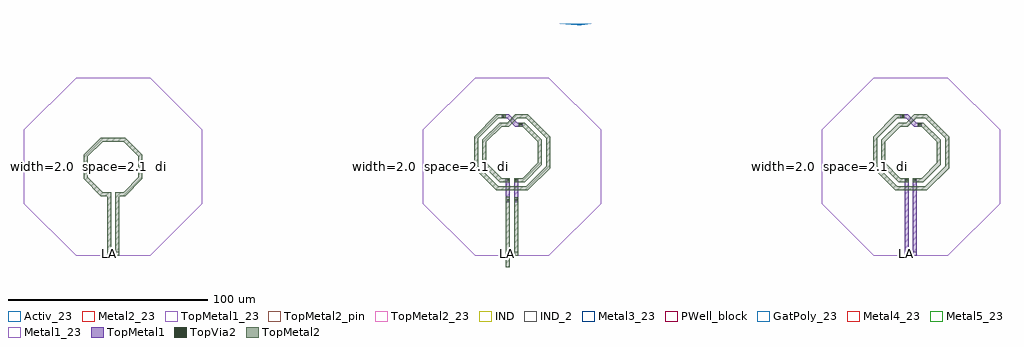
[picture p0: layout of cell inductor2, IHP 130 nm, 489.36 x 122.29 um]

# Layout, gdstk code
import gdstk
lib = gdstk.Library(unit=1e-6, precision=1e-09)
def R(c, l, rs):  # rectangles x0, y0, x1, y1
    for r in rs: c.add(gdstk.rectangle(r[:2], r[2:], *l))
def P(c, l, *ps):  # polygons
    for p in ps: c.add(gdstk.Polygon(p, *l))
Activ_23 = (1, 23)
GatPoly_23 = (5, 23)
Metal1_23 = (8, 23)
Metal2_23 = (10, 23)
IND = (27, 0)
IND_2 = (27, 2)
Metal3_23 = (30, 23)
PWell_block = (46, 21)
Metal4_23 = (50, 23)
Metal5_23 = (67, 23)
TopMetal1 = (126, 0)
TopMetal1_23 = (126, 23)
TopVia2 = (133, 0)
TopMetal2 = (134, 0)
TopMetal2_pin = (134, 2)
TopMetal2_23 = (134, 23)

inductor2 = lib.new_cell('inductor2')
P(inductor2, Activ_23, [(232.726,115.584),(223.9,116.509),(239.66,116.509),(234.726,115.584)],
  [(181.495,0),(155.32,26.175),(155.32,63.185),(181.495,89.36),(218.505,89.36),(244.68,63.185),(244.68,26.175),(218.505,0)],
  [(381.495,0),(355.32,26.175),(355.32,63.185),(381.495,89.36),(418.505,89.36),(444.68,63.185),(444.68,26.175),(418.505,0)],
  [(-18.505,0),(-44.68,26.175),(-44.68,63.185),(-18.505,89.36),(18.505,89.36),(44.68,63.185),(44.68,26.175),(18.505,0)])
P(inductor2, GatPoly_23, [(181.495,0),(155.32,26.175),(155.32,63.185),(181.495,89.36),(218.505,89.36),(244.68,63.185),(244.68,26.175),(218.505,0)],
  [(381.495,0),(355.32,26.175),(355.32,63.185),(381.495,89.36),(418.505,89.36),(444.68,63.185),(444.68,26.175),(418.505,0)],
  [(-18.505,0),(-44.68,26.175),(-44.68,63.185),(-18.505,89.36),(18.505,89.36),(44.68,63.185),(44.68,26.175),(18.505,0)])
P(inductor2, Metal1_23, [(181.495,0),(155.32,26.175),(155.32,63.185),(181.495,89.36),(218.505,89.36),(244.68,63.185),(244.68,26.175),(218.505,0)],
  [(381.495,0),(355.32,26.175),(355.32,63.185),(381.495,89.36),(418.505,89.36),(444.68,63.185),(444.68,26.175),(418.505,0)],
  [(-18.505,0),(-44.68,26.175),(-44.68,63.185),(-18.505,89.36),(18.505,89.36),(44.68,63.185),(44.68,26.175),(18.505,0)])
P(inductor2, Metal2_23, [(181.495,0),(155.32,26.175),(155.32,63.185),(181.495,89.36),(218.505,89.36),(244.68,63.185),(244.68,26.175),(218.505,0)],
  [(381.495,0),(355.32,26.175),(355.32,63.185),(381.495,89.36),(418.505,89.36),(444.68,63.185),(444.68,26.175),(418.505,0)],
  [(-18.505,0),(-44.68,26.175),(-44.68,63.185),(-18.505,89.36),(18.505,89.36),(44.68,63.185),(44.68,26.175),(18.505,0)])
P(inductor2, IND, [(181.495,0),(155.32,26.175),(155.32,63.185),(181.495,89.36),(218.505,89.36),(244.68,63.185),(244.68,26.175),(218.505,0)],
  [(381.495,0),(355.32,26.175),(355.32,63.185),(381.495,89.36),(418.505,89.36),(444.68,63.185),(444.68,26.175),(418.505,0)],
  [(-18.505,0),(-44.68,26.175),(-44.68,63.185),(-18.505,89.36),(18.505,89.36),(44.68,63.185),(44.68,26.175),(18.505,0)])
R(inductor2, IND_2, [(-3.05,0,-1.05,2), (1.05,0,3.05,2), (196.95,0,198.95,2), (201.05,0,203.05,2), (396.95,0,398.95,2), (401.05,0,403.05,2)])
P(inductor2, Metal3_23, [(181.495,0),(155.32,26.175),(155.32,63.185),(181.495,89.36),(218.505,89.36),(244.68,63.185),(244.68,26.175),(218.505,0)],
  [(381.495,0),(355.32,26.175),(355.32,63.185),(381.495,89.36),(418.505,89.36),(444.68,63.185),(444.68,26.175),(418.505,0)],
  [(-18.505,0),(-44.68,26.175),(-44.68,63.185),(-18.505,89.36),(18.505,89.36),(44.68,63.185),(44.68,26.175),(18.505,0)])
P(inductor2, PWell_block, [(181.495,0),(155.32,26.175),(155.32,63.185),(181.495,89.36),(218.505,89.36),(244.68,63.185),(244.68,26.175),(218.505,0)],
  [(381.495,0),(355.32,26.175),(355.32,63.185),(381.495,89.36),(418.505,89.36),(444.68,63.185),(444.68,26.175),(418.505,0)],
  [(-18.505,0),(-44.68,26.175),(-44.68,63.185),(-18.505,89.36),(18.505,89.36),(44.68,63.185),(44.68,26.175),(18.505,0)])
P(inductor2, Metal4_23, [(181.495,0),(155.32,26.175),(155.32,63.185),(181.495,89.36),(218.505,89.36),(244.68,63.185),(244.68,26.175),(218.505,0)],
  [(381.495,0),(355.32,26.175),(355.32,63.185),(381.495,89.36),(418.505,89.36),(444.68,63.185),(444.68,26.175),(418.505,0)],
  [(-18.505,0),(-44.68,26.175),(-44.68,63.185),(-18.505,89.36),(18.505,89.36),(44.68,63.185),(44.68,26.175),(18.505,0)])
P(inductor2, Metal5_23, [(181.495,0),(155.32,26.175),(155.32,63.185),(181.495,89.36),(218.505,89.36),(244.68,63.185),(244.68,26.175),(218.505,0)],
  [(381.495,0),(355.32,26.175),(355.32,63.185),(381.495,89.36),(418.505,89.36),(444.68,63.185),(444.68,26.175),(418.505,0)],
  [(-18.505,0),(-44.68,26.175),(-44.68,63.185),(-18.505,89.36),(18.505,89.36),(44.68,63.185),(44.68,26.175),(18.505,0)])
P(inductor2, TopMetal1, [(201.754,64.865),(197.644,68.975),(194.764,68.975),(194.764,70.975),(198.454,70.975),(202.564,66.865),(205.444,66.865),(205.444,64.865)],
  [(401.754,64.865),(397.644,68.975),(394.764,68.975),(394.764,70.975),(398.454,70.975),(402.564,66.865),(405.444,66.865),(405.444,64.865)])
P(inductor2, TopMetal1_23, [(181.495,0),(155.32,26.175),(155.32,63.185),(181.495,89.36),(218.505,89.36),(244.68,63.185),(244.68,26.175),(218.505,0)],
  [(381.495,0),(355.32,26.175),(355.32,63.185),(381.495,89.36),(418.505,89.36),(444.68,63.185),(444.68,26.175),(418.505,0)],
  [(-18.505,0),(-44.68,26.175),(-44.68,63.185),(-18.505,89.36),(18.505,89.36),(44.68,63.185),(44.68,26.175),(18.505,0)])
R(inductor2, TopVia2, [(197.526,27.594,198.426,28.494), (201.626,27.594,202.526,28.494), (197.526,37.575,198.426,38.475), (201.626,37.575,202.526,38.475), (397.526,37.575,398.426,38.475), (401.626,37.575,402.526,38.475), (203.994,65.415,204.894,66.315), (403.994,65.415,404.894,66.315), (195.314,69.515,196.214,70.415), (395.314,69.515,396.214,70.415)])
R(inductor2, TopMetal2, [(196.764,32.925,203.444,34.925), (396.764,32.925,403.444,34.925), (-3.34,57.35,3.34,59.35)])
P(inductor2, TopMetal2, [(193.924,37.025),(185.184,45.765),(185.184,58.125),(193.924,66.865),(196.764,66.865),(196.764,64.865),(194.754,64.865),(187.184,57.295),(187.184,46.595),(194.754,39.025),(198.95,39.025),(198.95,37.025)],
  [(201.05,37.025),(201.05,39.025),(205.454,39.025),(213.024,46.595),(213.024,57.295),(205.454,64.865),(203.444,64.865),(203.444,66.865),(206.284,66.865),(215.024,58.125),(215.024,45.765),(206.284,37.025)],
  [(393.924,37.025),(385.184,45.765),(385.184,58.125),(393.924,66.865),(396.764,66.865),(396.764,64.865),(394.754,64.865),(387.184,57.295),(387.184,46.595),(394.754,39.025),(398.95,39.025),(398.95,37.025)],
  [(401.05,37.025),(401.05,39.025),(405.454,39.025),(413.024,46.595),(413.024,57.295),(405.454,64.865),(403.444,64.865),(403.444,66.865),(406.284,66.865),(415.024,58.125),(415.024,45.765),(406.284,37.025)],
  [(392.224,32.925),(381.079,44.07),(381.079,59.83),(392.224,70.975),(396.764,70.975),(396.764,68.975),(393.054,68.975),(383.079,59),(383.079,44.9),(393.054,34.925),(396.764,34.925),(396.764,32.925)],
  [(403.444,32.925),(403.444,34.925),(407.154,34.925),(417.129,44.9),(417.129,59),(407.154,68.975),(403.444,68.975),(403.444,70.975),(407.984,70.975),(419.129,59.83),(419.129,44.07),(407.984,32.925)],
  [(192.224,32.925),(181.079,44.07),(181.079,59.83),(192.224,70.975),(196.764,70.975),(196.764,68.975),(193.054,68.975),(183.079,59),(183.079,44.9),(193.054,34.925),(196.764,34.925),(196.764,32.925)],
  [(203.444,32.925),(203.444,34.925),(207.154,34.925),(217.129,44.9),(217.129,59),(207.154,68.975),(203.444,68.975),(203.444,70.975),(207.984,70.975),(219.129,59.83),(219.129,44.07),(207.984,32.925)],
  [(196.764,64.865),(196.764,66.865),(197.634,66.865),(201.734,70.975),(203.444,70.975),(203.444,68.975),(202.574,68.975),(198.474,64.865)],
  [(396.764,64.865),(396.764,66.865),(397.634,66.865),(401.734,70.975),(403.444,70.975),(403.444,68.975),(402.574,68.975),(398.474,64.865)],
  [(-6.08,30),(-14.675,38.595),(-14.675,50.755),(-6.08,59.35),(-3.34,59.35),(-3.34,57.35),(-5.25,57.35),(-12.675,49.925),(-12.675,39.425),(-5.25,32),(-1.05,32),(-1.05,30)],
  [(1.05,30),(1.05,32),(5.25,32),(12.675,39.425),(12.675,49.925),(5.25,57.35),(3.34,57.35),(3.34,59.35),(6.08,59.35),(14.675,50.755),(14.675,38.595),(6.08,30)])
R(inductor2, TopMetal2_pin, [(-3.05,0,-1.05,2), (1.05,0,3.05,2), (196.95,0,198.95,2), (201.05,0,203.05,2)])
P(inductor2, TopMetal2_23, [(181.495,0),(155.32,26.175),(155.32,63.185),(181.495,89.36),(218.505,89.36),(244.68,63.185),(244.68,26.175),(218.505,0)],
  [(381.495,0),(355.32,26.175),(355.32,63.185),(381.495,89.36),(418.505,89.36),(444.68,63.185),(444.68,26.175),(418.505,0)],
  [(-18.505,0),(-44.68,26.175),(-44.68,63.185),(-18.505,89.36),(18.505,89.36),(44.68,63.185),(44.68,26.175),(18.505,0)])
inductor2.add(gdstk.FlexPath([(197.95,-5.781),(197.95,29.635)], 2, ends="flush", simple_path=True, layer=134, datatype=0))  # TopMetal2
inductor2.add(gdstk.FlexPath([(202.05,0),(202.05,29.481)], 2, ends="flush", simple_path=True, layer=134, datatype=0))  # TopMetal2
inductor2.add(gdstk.FlexPath([(-2.05,0),(-2.05,32)], 2, ends="flush", simple_path=True, layer=134, datatype=0))  # TopMetal2
inductor2.add(gdstk.FlexPath([(2.05,0),(2.05,32)], 2, ends="flush", simple_path=True, layer=134, datatype=0))  # TopMetal2
inductor2.add(gdstk.FlexPath([(197.95,26.984),(197.95,39.025)], 2, ends="flush", simple_path=True, layer=126, datatype=0))  # TopMetal1
inductor2.add(gdstk.FlexPath([(202.05,26.984),(202.05,39.025)], 2, ends="flush", simple_path=True, layer=126, datatype=0))  # TopMetal1
inductor2.add(gdstk.FlexPath([(397.95,0),(397.95,39.025)], 2, ends="flush", simple_path=True, layer=126, datatype=0))  # TopMetal1
inductor2.add(gdstk.FlexPath([(402.05,0),(402.05,39.025)], 2, ends="flush", simple_path=True, layer=126, datatype=0))  # TopMetal1
inductor2.add(gdstk.Label('  width=2.0\n  space=2.1\n  diameter=25.35\n  turns=2', (157.32,44.68), layer=63, texttype=0))
inductor2.add(gdstk.Label('inductor2', (200,44.715), layer=63, texttype=0))
inductor2.add(gdstk.Label('  width=2.0\n  space=2.1\n  diameter=25.35\n  turns=2', (357.32,44.68), layer=63, texttype=0))
inductor2.add(gdstk.Label('inductor2', (400,44.715), layer=63, texttype=0))
inductor2.add(gdstk.Label('  width=2.0\n  space=2.1\n  diameter=25.35\n  turns=1', (-42.68,44.68), layer=63, texttype=0))
inductor2.add(gdstk.Label('inductor2', (0,44.715), layer=63, texttype=0))
inductor2.add(gdstk.Label('LA', (197.95,1), layer=27, texttype=25))
inductor2.add(gdstk.Label('LB', (202.05,1), layer=27, texttype=25))
inductor2.add(gdstk.Label('LA', (397.95,1), layer=27, texttype=25))
inductor2.add(gdstk.Label('LB', (402.05,1), layer=27, texttype=25))
inductor2.add(gdstk.Label('LA', (-2.05,1), layer=27, texttype=25))
inductor2.add(gdstk.Label('LB', (2.05,1), layer=27, texttype=25))

lib.write_gds('inductor2.gds')
